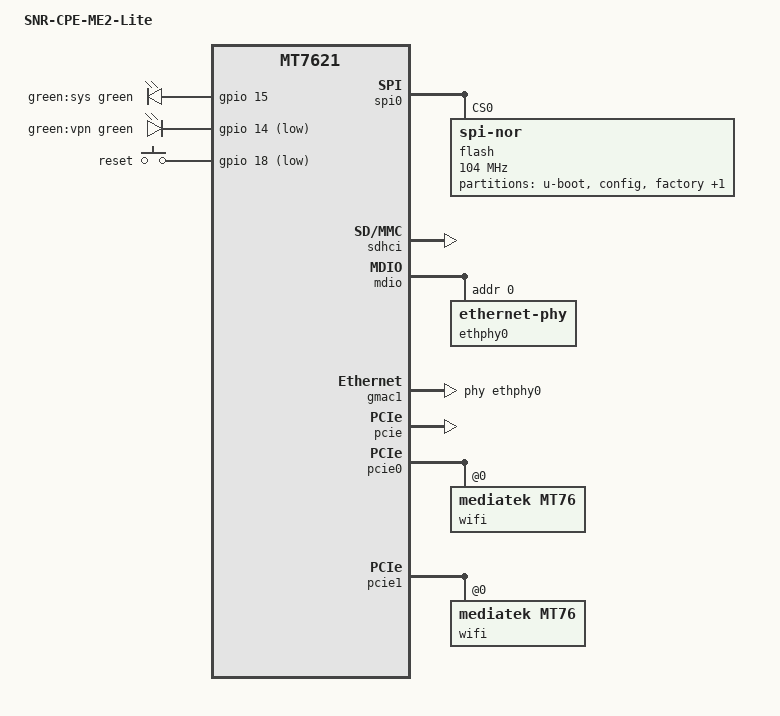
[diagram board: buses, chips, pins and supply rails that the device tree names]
// SPDX-License-Identifier: GPL-2.0-or-later OR MIT
#include "mt7621.dtsi"

#include <dt-bindings/gpio/gpio.h>
#include <dt-bindings/input/input.h>
#include <dt-bindings/leds/common.h>

/ {
	compatible = "snr,snr-cpe-me2-lite", "mediatek,mt7621-soc";
	model = "SNR-CPE-ME2-Lite";

	leds {
		compatible = "gpio-leds";

		led_sys: led-0 {
			label = "green:sys";
			color = <LED_COLOR_ID_GREEN>;
			function = LED_FUNCTION_STATUS;
			gpios = <&gpio 15 GPIO_ACTIVE_HIGH>;
		};

		led_vpn: led-1 {
			label = "green:vpn";
			color = <LED_COLOR_ID_GREEN>;
			function = LED_FUNCTION_STATUS;
			gpios = <&gpio 14 GPIO_ACTIVE_LOW>;
		};
	};

	keys {
		compatible = "gpio-keys";

		reset {
			label = "reset";
			gpios = <&gpio 18 GPIO_ACTIVE_LOW>;
			linux,code = <KEY_RESTART>;
		};
	};
};

&state_default {
	gpio {
		groups = "jtag", "wdt";
		function = "gpio";
	};
};

&gdma {
	status = "okay";
};

&spi0 {
	status = "okay";

	flash@0 {
		compatible = "jedec,spi-nor";
		reg = <0>;
		spi-max-frequency = <104000000>;

		partitions {
			compatible = "fixed-partitions";
			#address-cells = <1>;
			#size-cells = <1>;

			partition@0 {
				label = "u-boot";
				reg = <0x0 0x30000>;
				read-only;
			};

			partition@30000 {
				label = "config";
				reg = <0x30000 0x10000>;
			};

			factory: partition@40000 {
				label = "factory";
				reg = <0x40000 0x10000>;
				read-only;
			};

			partition@50000 {
				compatible = "denx,uimage";
				label = "firmware";
				reg = <0x50000 0xfb0000>;
			};
		};
	};
};

&sdhci {
	status = "okay";
};

&mdio {
	ethphy0: ethernet-phy@0 {
		reg = <0>;
	};
};

&gmac0 {
	nvmem-cells = <&macaddr_factory_e000>;
	nvmem-cell-names = "mac-address";
};

&gmac1 {
	status = "okay";
	label = "wan";
	phy-handle = <&ethphy0>;

	nvmem-cells = <&macaddr_factory_e006>;
	nvmem-cell-names = "mac-address";
};

&switch0 {
	ports {
		port@1 {
			status = "okay";
			label = "lan1";
		};

		port@2 {
			status = "okay";
			label = "lan2";
		};

		port@3 {
			status = "okay";
			label = "lan3";
		};

		port@4 {
			status = "okay";
			label = "lan4";
		};
	};
};

&pcie {
	status = "okay";
};

&pcie0 {
	wifi@0,0 {
		compatible = "mediatek,mt76";
		reg = <0x0000 0 0 0 0>;
		mediatek,mtd-eeprom = <&factory 0x0000>;
		ieee80211-freq-limit = <2400000 2500000>;
	};
};

&pcie1 {
	wifi@0,0 {
		compatible = "mediatek,mt76";
		reg = <0x0000 0 0 0 0>;
		mediatek,mtd-eeprom = <&factory 0x8000>;
		ieee80211-freq-limit = <5000000 6000000>;
	};
};

&factory {
	compatible = "nvmem-cells";
	#address-cells = <1>;
	#size-cells = <1>;

	macaddr_factory_e000: macaddr@e000 {
		reg = <0xe000 0x6>;
	};

	macaddr_factory_e006: macaddr@e006 {
		reg = <0xe006 0x6>;
	};
};
